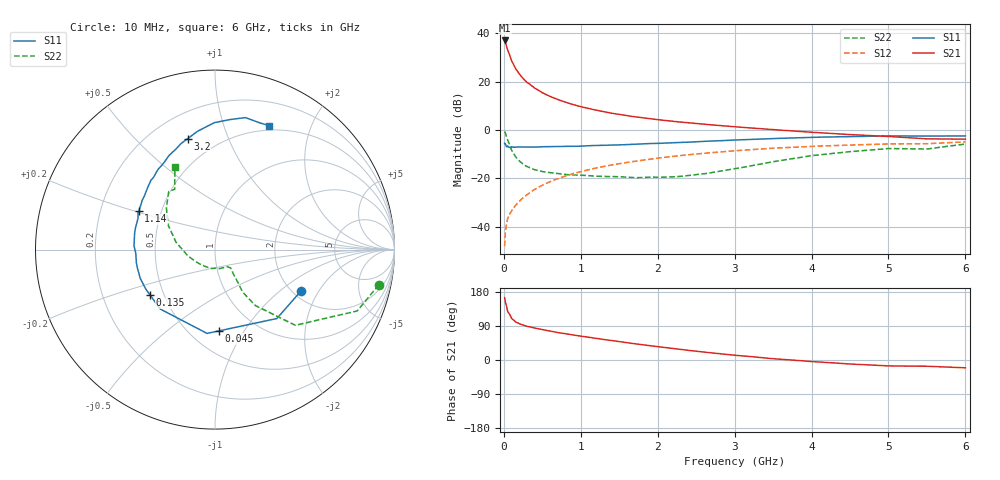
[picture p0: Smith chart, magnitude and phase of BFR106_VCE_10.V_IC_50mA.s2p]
! Infineon Technologies  Discrete & RF Semiconductors
! BFR106
! VCE =  10. V,  IC =  50 mA
! Common Emitter S-Parameters:  Nov 2015
# GHz  S  MA  R  50
!  f  S11  S21  S12  S22
! GHz  MAG  ANG  MAG  ANG  MAG  ANG  MAG  ANG
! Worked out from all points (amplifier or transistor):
!   210 points, 10 MHz to 6 GHz, reference 50 ohm
!   highest |S21| = 36.9 dB at 10 MHz (marker M1)
!   |S21| within 3 dB of that: start of sweep to 40.6 MHz
!   unconditionally stable (mu >= 1): 271.5 MHz to 2.3 GHz
!   at 185 MHz: K = 0.90, MSG = 26.9 dB, |S12| = -30.0 dB
!   at 1.52 GHz: K = 1.06, MAG = 8.6 dB, |S12| = -13.8 dB
!   at 6 GHz: K = 0.98, MSG = 0.6 dB, |S12| = -4.9 dB
!   S11 on the Smith chart (normalised r, x): 10 MHz: 2.23, -1.42; 45 MHz: 0.68, -0.78; 135 MHz: 0.42, -0.27; 1.14 GHz: 0.37, +0.21; 3.2 GHz: 0.35, +0.72; 6 GHz: 0.45, +1.43
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0.01  0.5326 -25.4  70.38 164.4  0.004 82.4  0.9335 -12.1
0.02  0.516 -48.1  64.65 152.3  0.0077 74.2  0.8631 -23.3
0.045  0.4536 -87.4  47.26 132.9  0.0138 62.0  0.6498 -39.0
0.05  0.469 -95.4  44.72 127.4  0.015 60.8  0.6153 -43.3
0.1  0.4503 -132.7  26.92 109.5  0.0214 59.8  0.3839 -54.2
0.135  0.4414 -144.8  21.11 104.0  0.0257 61.4  0.3122 -56.0
0.15  0.4438 -150.1  18.7 100.6  0.0275 62.0  0.2816 -57.0
0.2  0.4463 -158.9  14.34 95.7  0.0335 65.2  0.2304 -55.3
0.24  0.4445 -164.3  12.09 92.6  0.0387 66.7  0.2018 -54.5
0.3  0.4443 -170.3  9.666 89.0  0.0459 69.0  0.1764 -53.4
0.4  0.4419 -177.4  7.33 84.3  0.0593 70.3  0.1511 -51.0
0.5  0.4516 177.4  5.874 80.1  0.0721 71.1  0.1379 -49.6
0.6  0.453 172.4  4.928 76.2  0.0856 70.8  0.1321 -50.2
0.8  0.4594 165.4  3.734 69.3  0.112 69.2  0.1203 -53.2
1.02  0.4654 157.2  2.976 62.3  0.1409 67.3  0.1164 -58.3
1.14  0.476 153.3  2.69 58.7  0.1563 65.9  0.113 -62.9
2.02  0.53 129.9  1.62 34.8  0.2643 54.4  0.106 -108.1
3.1  0.6282 105.8  1.134 10.9  0.3811 39.0  0.1685 -174.6
3.2  0.6367 103.9  1.103 9.2  0.3906 37.5  0.1802 -179.5
4.1  0.7109 88.9  0.878 -5.3  0.4656 24.5  0.3063 149.3
5.1  0.7527 75.7  0.718 -15.8  0.5163 11.5  0.4118 127.6
6  0.7542 66.4  0.646 -20.6  0.5668 1.5  0.5122 115.8
